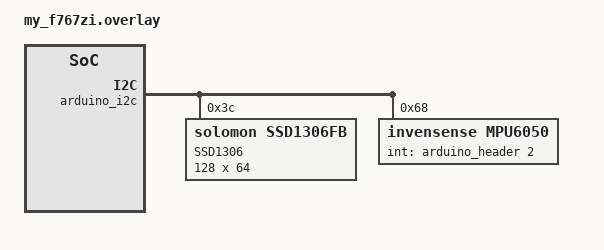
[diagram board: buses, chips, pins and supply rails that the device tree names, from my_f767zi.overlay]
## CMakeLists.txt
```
# SPDX-License-Identifier: Apache-2.0

# Re-direct the directory where the 'boards' directory is found from
# $ZEPHYR_BASE to this directory.
set(BOARD_ROOT ${CMAKE_CURRENT_LIST_DIR})


set(BOARD my_f767zi)
set(SHIELD ssd1306_128x64)

cmake_minimum_required(VERSION 3.13.1)

find_package(Zephyr REQUIRED HINTS $ENV{ZEPHYR_BASE})
project(my_f767zi)


FILE(GLOB app_sources src/*.cpp)
target_sources(app PRIVATE ${app_sources})
```

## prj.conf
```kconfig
CONFIG_HEAP_MEM_POOL_SIZE=16384
CONFIG_MAIN_STACK_SIZE=2048

CONFIG_CONSOLE_SUBSYS=y
CONFIG_CONSOLE_GETLINE=y

CONFIG_DISPLAY=y
CONFIG_DISPLAY_LOG_LEVEL_ERR=y

CONFIG_LOG=y

CONFIG_I2C=y

CONFIG_SSD1306=y
CONFIG_LVGL=y
CONFIG_LVGL_USE_LABEL=y
CONFIG_LVGL_USE_CONT=y
CONFIG_LVGL_USE_BTN=y
CONFIG_LVGL_USE_THEME_MATERIAL=y
# CONFIG_LVGL_DISPLAY_DEV_NAME="SSD1306"
# CONFIG_SHIELD_SSD1306_128X64=y

# CONFIG_LVGL_HOR_RES_MAX=128
# CONFIG_LVGL_VER_RES_MAX=64
# CONFIG_LVGL_VDB_SIZE=64
# CONFIG_LVGL_DPI=148
# CONFIG_LVGL_BITS_PER_PIXEL=1
# CONFIG_LVGL_COLOR_DEPTH=LVGL_COLOR_DEPTH_1

CONFIG_SENSOR=y
CONFIG_MPU6050=y
CONFIG_MPU6050_TRIGGER_NONE=y
CONFIG_CBPRINTF_FP_SUPPORT=y

# CONFIG_SPI=y
# CONFIG_BMI160=y
```

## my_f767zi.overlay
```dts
/*
 * Copyright (c) 2019 PHYTEC Messtechnik GmbH
 *
 * SPDX-License-Identifier: Apache-2.0
 */

&arduino_i2c {
	status = "okay";

	ssd1306@3c {
		compatible = "solomon,ssd1306fb";
		reg = <0x3c>;
		label = "SSD1306";
		width = <128>;
		height = <64>;
		segment-offset = <0>;
		page-offset = <0>;
		display-offset = <0>;
		multiplex-ratio = <63>;
		segment-remap;
		com-invdir;
		prechargep = <0x22>;
	};

	mpu6050@68 {
		compatible = "invensense,mpu6050";
		reg = <0x68>;
		status = "okay";
		label = "MPU6050";
		int-gpios = <&arduino_header 2 GPIO_ACTIVE_HIGH>; /* D7 */
	};
};

// &i2c2 {
// 	status = "okay";
// };
```

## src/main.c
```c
/*
 * Copyright (c) 2018 Jan Van Winkel <jan.van_winkel@dxplore.eu>
 *
 * SPDX-License-Identifier: Apache-2.0
 */

#include <stdlib.h>
#include <device.h>
#include <drivers/display.h>
#include <drivers/sensor.h>
#include <lvgl.h>
#include <stdio.h>
#include <string.h>
#include <zephyr.h>
#include <sys/printk.h>
#include <console/console.h>

#define LOG_LEVEL CONFIG_LOG_DEFAULT_LEVEL
#include <logging/log.h>
LOG_MODULE_REGISTER(app);

static const struct device *setup_mpu6050() {
	const char *const label = DT_LABEL(DT_INST(0, invensense_mpu6050));
	const struct device *mpu6050 = device_get_binding(label);

	if (!mpu6050) {
		printf("Failed to find sensor %s\n", label);
		return mpu6050;
	}

	return mpu6050;
}

static int wait_for_stall(const struct device *dev, lv_obj_t *label) {
	char gyro_str[40] = {0};
	struct sensor_value gyro[3];

	double cyclic_buffer[12] = {
		1,1,1,
		1,1,1,
		1,1,1,
		1,1,1,
	};
	int idx = 0;
	int count = 0;
	int rc = 0;

	printk("wait for stall...\n");

	if (rc != 0) {
		return rc;
	}

	while (1) {
		rc = sensor_sample_fetch(dev);
		if (rc == 0) {
			rc = sensor_channel_get(dev, SENSOR_CHAN_GYRO_XYZ,
									gyro);
		}
		if (rc != 0) {
			return rc;
		}
		if (label) {
			sprintf(gyro_str, "%f\n%f\n%f",
					sensor_value_to_double(&gyro[0]),
					sensor_value_to_double(&gyro[1]),
					sensor_value_to_double(&gyro[2])
					);
			printk("... %s\n", gyro_str);
			lv_label_set_text(label, gyro_str);
			lv_obj_align(label, NULL, LV_ALIGN_CENTER, 0, 0);
		}

		cyclic_buffer[idx] = sensor_value_to_double(&gyro[0]);
		cyclic_buffer[idx + 1] = sensor_value_to_double(&gyro[1]);
		cyclic_buffer[idx + 2] = sensor_value_to_double(&gyro[2]);

		double sum = 0;
		for(int i=0; i<12; i++) {
			if (cyclic_buffer[i] > 0) {
				sum += cyclic_buffer[i];
			} else {
				sum -= cyclic_buffer[i];
			}
		}

		printk("... sum = %f ...\n", sum);
		if (sum < 0.4) {
			printk("... stalled\n");
			return rc;
		}

		if (count > 100) {
			printk("... failed\n");
			return -1;
		}

		idx = (idx + 3) % 12;
		k_sleep(K_MSEC(10));
		++count;
	}
}

void main(void)
{
	const struct device *display_dev;
	lv_obj_t *label;
	lv_obj_t *count_label;

	console_getline_init();


	const struct device *mpu6050 = setup_mpu6050();
	if (!mpu6050) {
		return;
	}


	display_dev = device_get_binding(CONFIG_LVGL_DISPLAY_DEV_NAME);

	if (display_dev == NULL) {
		LOG_ERR("device not found.  Aborting test.");
		return;
	}

	if (IS_ENABLED(CONFIG_LVGL_POINTER_KSCAN)) {
		lv_obj_t *hello_world_button;

		hello_world_button = lv_btn_create(lv_scr_act(), NULL);
		lv_obj_align(hello_world_button, NULL, LV_ALIGN_CENTER, 0, 0);
		lv_btn_set_fit(hello_world_button, LV_FIT_TIGHT);
		label = lv_label_create(hello_world_button, NULL);
	} else {
		label = lv_label_create(lv_scr_act(), NULL);
	}

    count_label = lv_label_create(lv_scr_act(), NULL);
    lv_obj_align(count_label, NULL, LV_ALIGN_IN_TOP_MID, 0, 0);

	lv_task_handler();
	display_blanking_off(display_dev);

	while (1) {
		char *s = console_getline();
		printk("<-- %s\n", s);

		if (s[0] == 's') {
			int rc = wait_for_stall(mpu6050, label);
			if (rc != 0) {
				printk("!!! returned rc=%i", rc);
			}
		}

		int x = atoi(s);


		lv_task_handler();
		k_sleep(K_MSEC(10));
	}
}
```

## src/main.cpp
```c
/*
 * Copyright (c) 2018 Google LLC.
 *
 * SPDX-License-Identifier: Apache-2.0
 */

/*
 * This is mainly a parse test that verifies that Zephyr header files
 * compile in C++ mode.
 */

#include <string.h>
#include <zephyr.h>
#include <zephyr/types.h>
#include <stdbool.h>
#include <stdio.h>
#include <stdlib.h>

#include <init.h>
#include <device.h>
#include <kernel.h>
#include <net/buf.h>
#include <sys/byteorder.h>
#include <sys/crc.h>
#include <sys/crc.h>
#include <sys/printk.h>

#include <console/console.h>

#include <lvgl.h>

#include <drivers/display.h>
#include <drivers/sensor.h>
// #include <drivers/gpio.h>
// #include <drivers/led_strip.h>
// #include <drivers/spi.h>
// #include <drivers/uart.h>
// #include <usb/usb_device.h>
// #include <usb/class/usb_hid.h>
// #include <drivers/watchdog.h>

#define LOG_LEVEL CONFIG_LOG_DEFAULT_LEVEL
#include <logging/log.h>
LOG_MODULE_REGISTER(app);

class GyroWaiter {
	const struct device *mpu6050;
	lv_obj_t *label;
	int num_of_samples = 4;
	double boundary = 0.1 * num_of_samples;
	int sleep_msec = 50;
	int bail_count = 40;
public:
	GyroWaiter() {
		label = lv_label_create(lv_scr_act(), NULL);
		lv_obj_align(label, NULL, LV_ALIGN_CENTER, 0, 0);

		const char *const mpu_label = DT_LABEL(DT_INST(0, invensense_mpu6050));
		mpu6050 = device_get_binding(mpu_label);
	};
	int wait() {
		char gyro_str[40] = {0};
		struct sensor_value gyro[3];

		double cyclic_buffer[num_of_samples * 3] = {
			1,1,1
		};
		int idx = 1;
		int count = 0;
		int rc = 0;

		printk("wait for stall...\n");
		while (1) {
			rc = sensor_sample_fetch(mpu6050);
			if (rc == 0) {
				rc = sensor_channel_get(mpu6050, SENSOR_CHAN_GYRO_XYZ, gyro);
			}
			if (rc != 0) {
				return rc;
			}
			sprintf(gyro_str, "%f\n%f\n%f",
					sensor_value_to_double(&gyro[0]),
					sensor_value_to_double(&gyro[1]),
					sensor_value_to_double(&gyro[2])
					);
			printk("... %s\n", gyro_str);
			if (label) {
				lv_label_set_text(label, gyro_str);
				lv_obj_align(label, NULL, LV_ALIGN_CENTER, 0, 0);
			}

			cyclic_buffer[idx * 3] = sensor_value_to_double(&gyro[0]);
			cyclic_buffer[idx * 3 + 1] = sensor_value_to_double(&gyro[1]);
			cyclic_buffer[idx * 3 + 2] = sensor_value_to_double(&gyro[2]);

			double sum = 0;
			for(int i=0; i < num_of_samples * 3; i++) {
				if (cyclic_buffer[i] > 0) {
					sum += cyclic_buffer[i];
				} else {
					sum -= cyclic_buffer[i];
				}
			}

			printk("... sum = %f ...\n", sum);
			if (sum < boundary) {
				printk("... stalled\n");
				return rc;
			}

			if (count > bail_count) {
				printk("... failed\n");
				return -1;
			}

			idx = (++idx) % num_of_samples;
			k_sleep(K_MSEC(sleep_msec));
			++count;
		}
	};
};

class Rail {
	int pos = 0;
	int target_pos = 0;
	lv_obj_t *label;
	int sleep_msec = 1;
	bool current_to_left = true;

	void print_to_label() {
		char pos_str[11] = {0};
		sprintf(pos_str, "%i --> %i", target_pos, pos);
		lv_label_set_text(label, pos_str);
		lv_task_handler();
	}
	void flip_dir() {
		current_to_left = !current_to_left;
	};
	void step(bool to_left) {
		if (to_left != current_to_left) {
			flip_dir();
		}
		if (to_left) {
			++pos;
		} else {
			--pos;
		}
		print_to_label();
	};
public:
	Rail() {
		label = lv_label_create(lv_scr_act(), NULL);
		lv_obj_align(label, NULL, LV_ALIGN_IN_BOTTOM_LEFT, 0, 0);
		print_to_label();
	};
	int go(int relative) {
		target_pos += relative;
		print_to_label();
		return pos;
	};
	void run() {
		while (1) {
			if (pos != target_pos) {
				run_to_target();
			}
			// k_sleep(K_MSEC(sleep_msec));
		}
	};
	void run_to_target() {
		while(1) {
			if (pos < target_pos) {
				step(true);
			} else if (pos > target_pos) {
				step(false);
			} else {
				break;
			}
			k_sleep(K_MSEC(sleep_msec));
		}
	}
};

void display_init() {
	const struct device *display_dev;
	display_dev = device_get_binding(CONFIG_LVGL_DISPLAY_DEV_NAME);

	if (display_dev == NULL) {
		LOG_ERR("device not found.  Aborting test.");
		return;
	}
	display_blanking_off(display_dev);
}

#define CONSOLE_HELP  \
    "help\n"  \
    "----\n"  \
    "   s -> do a single shot\n" \
    "   $int -> move relative\n"


void main(void) {
	int rc = 0;

	display_init();
	console_getline_init();
	GyroWaiter waiter;
	Rail rail;

	lv_task_handler();

	printk(CONSOLE_HELP);
	while (1) {
		char *s = console_getline();
		printk("<-- %s\n", s);

		if (s[0] == 's') {
			waiter.wait();
			if (rc != 0) {
				printk("!!! returned rc=%i", rc);
			}
		} else if (s[0] == 'r') {
			rail.run_to_target();
		} else {
			int x = atoi(s);
			rail.go(x);
		}

		lv_task_handler();
		k_sleep(K_MSEC(10));
	}
}
```
